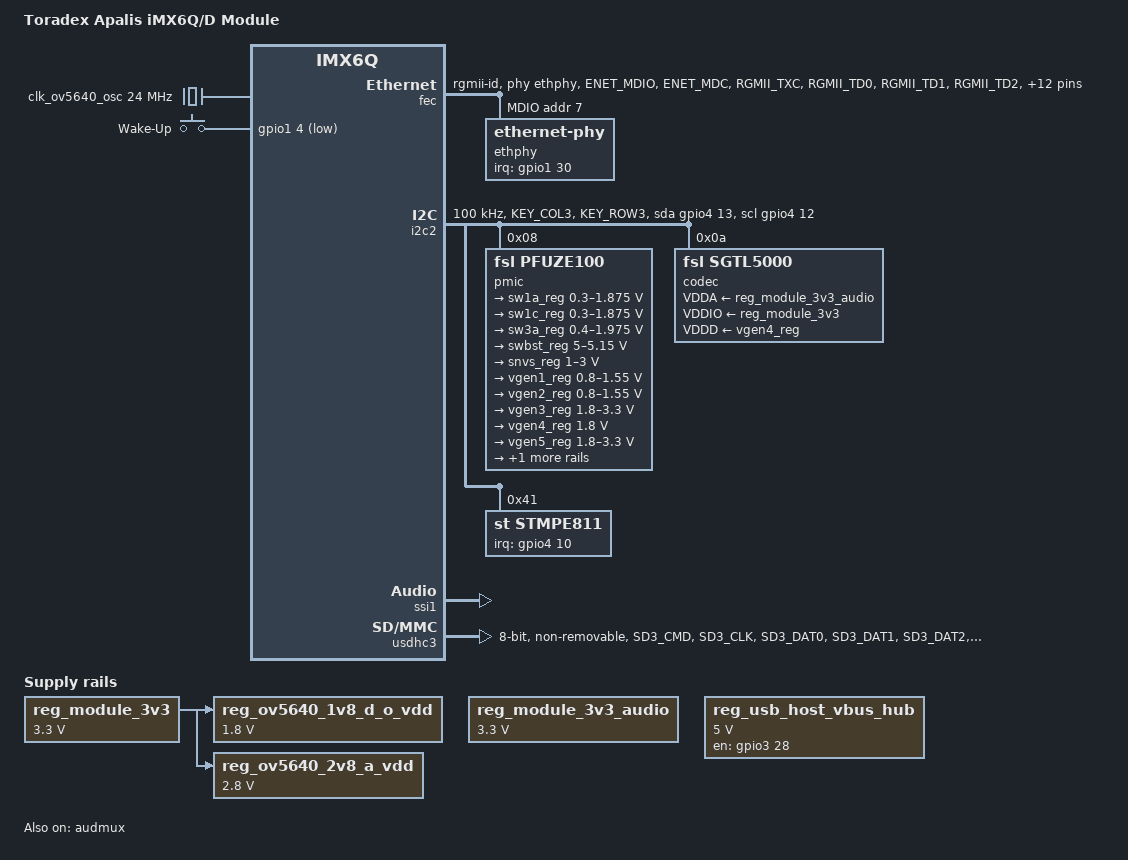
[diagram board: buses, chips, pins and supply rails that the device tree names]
// SPDX-License-Identifier: GPL-2.0-or-later OR MIT
/*
 * Copyright 2014-2022 Toradex
 * Copyright 2012 Freescale Semiconductor, Inc.
 * Copyright 2011 Linaro Ltd.
 */

#include <dt-bindings/gpio/gpio.h>
#include <dt-bindings/pwm/pwm.h>

/ {
	model = "Toradex Apalis iMX6Q/D Module";
	compatible = "toradex,apalis_imx6q", "fsl,imx6q";

	/* Will be filled by the bootloader */
	memory@10000000 {
		device_type = "memory";
		reg = <0x10000000 0>;
	};

	backlight: backlight {
		compatible = "pwm-backlight";
		brightness-levels = <0 45 63 88 119 158 203 255>;
		default-brightness-level = <4>;
		enable-gpios = <&gpio3 13 GPIO_ACTIVE_HIGH>;
		pinctrl-names = "default";
		pinctrl-0 = <&pinctrl_gpio_bl_on>;
		power-supply = <&reg_module_3v3>;
		pwms = <&pwm4 0 5000000 PWM_POLARITY_INVERTED>;
		status = "disabled";
	};

	clk_ov5640_osc: clk-ov5640-osc {
		compatible = "fixed-clock";
		#clock-cells = <0>;
		clock-frequency = <24000000>;
	};

	gpio-keys {
		compatible = "gpio-keys";
		pinctrl-names = "default";
		pinctrl-0 = <&pinctrl_gpio_keys>;

		key-wakeup {
			debounce-interval = <10>;
			gpios = <&gpio1 4 GPIO_ACTIVE_LOW>;
			label = "Wake-Up";
			linux,code = <KEY_WAKEUP>;
			wakeup-source;
		};
	};

	lcd_display: disp0 {
		compatible = "fsl,imx-parallel-display";
		#address-cells = <1>;
		#size-cells = <0>;
		interface-pix-fmt = "rgb24";
		pinctrl-names = "default";
		pinctrl-0 = <&pinctrl_ipu1_lcdif>;
		status = "disabled";

		port@0 {
			reg = <0>;

			lcd_display_in: endpoint {
				remote-endpoint = <&ipu1_di1_disp1>;
			};
		};

		port@1 {
			reg = <1>;

			lcd_display_out: endpoint {
				remote-endpoint = <&lcd_panel_in>;
			};
		};
	};

	panel_dpi: panel-dpi {
		compatible = "edt,et057090dhu";
		backlight = <&backlight>;

		status = "disabled";

		port {
			lcd_panel_in: endpoint {
				remote-endpoint = <&lcd_display_out>;
			};
		};
	};

	panel_lvds: panel-lvds {
		compatible = "panel-lvds";
		backlight = <&backlight>;
		status = "disabled";

		port {
			lvds_panel_in: endpoint {
				remote-endpoint = <&lvds0_out>;
			};
		};
	};

	reg_module_3v3: regulator-module-3v3 {
		compatible = "regulator-fixed";
		regulator-always-on;
		regulator-max-microvolt = <3300000>;
		regulator-min-microvolt = <3300000>;
		regulator-name = "+V3.3";
	};

	reg_module_3v3_audio: regulator-module-3v3-audio {
		compatible = "regulator-fixed";
		regulator-always-on;
		regulator-max-microvolt = <3300000>;
		regulator-min-microvolt = <3300000>;
		regulator-name = "+V3.3_AUDIO";
	};

	reg_ov5640_1v8_d_o_vdd: regulator-ov5640-1v8-d-o-vdd {
		compatible = "regulator-fixed";
		regulator-always-on;
		regulator-max-microvolt = <1800000>;
		regulator-min-microvolt = <1800000>;
		regulator-name = "DOVDD/DVDD_1.8V";
		/* Note: The CSI module uses on-board 3.3V_SW supply */
		vin-supply = <&reg_module_3v3>;
	};

	reg_ov5640_2v8_a_vdd: regulator-ov5640-2v8-a-vdd {
		compatible = "regulator-fixed";
		regulator-always-on;
		regulator-max-microvolt = <2800000>;
		regulator-min-microvolt = <2800000>;
		regulator-name = "AVDD/AFVDD_2.8V";
		/* Note: The CSI module uses on-board 3.3V_SW supply */
		vin-supply = <&reg_module_3v3>;
	};

	reg_usb_otg_vbus: regulator-usb-otg-vbus {
		compatible = "regulator-fixed";
		enable-active-high;
		gpio = <&gpio3 22 GPIO_ACTIVE_HIGH>;
		pinctrl-names = "default";
		pinctrl-0 = <&pinctrl_regulator_usbotg_pwr>;
		regulator-max-microvolt = <5000000>;
		regulator-min-microvolt = <5000000>;
		regulator-name = "usb_otg_vbus";
		status = "disabled";
	};

	/* on module USB hub */
	reg_usb_host_vbus_hub: regulator-usb-host-vbus-hub {
		compatible = "regulator-fixed";
		enable-active-high;
		gpio = <&gpio3 28 GPIO_ACTIVE_HIGH>;
		pinctrl-names = "default";
		pinctrl-0 = <&pinctrl_regulator_usbhub_pwr>;
		regulator-max-microvolt = <5000000>;
		regulator-min-microvolt = <5000000>;
		regulator-name = "usb_host_vbus_hub";
		startup-delay-us = <2000>;
		status = "okay";
	};

	reg_usb_host_vbus: regulator-usb-host-vbus {
		compatible = "regulator-fixed";
		enable-active-high;
		gpio =  <&gpio1 0 GPIO_ACTIVE_HIGH>;
		pinctrl-names = "default";
		pinctrl-0 = <&pinctrl_regulator_usbh_pwr>;
		regulator-max-microvolt = <5000000>;
		regulator-min-microvolt = <5000000>;
		regulator-name = "usb_host_vbus";
		vin-supply = <&reg_usb_host_vbus_hub>;
		status = "disabled";
	};

	sound {
		compatible = "fsl,imx-audio-sgtl5000";
		audio-codec = <&codec>;
		audio-routing =
			"LINE_IN", "Line In Jack",
			"MIC_IN", "Mic Jack",
			"Mic Jack", "Mic Bias",
			"Headphone Jack", "HP_OUT";
		model = "imx6q-apalis-sgtl5000";
		mux-ext-port = <4>;
		mux-int-port = <1>;
		ssi-controller = <&ssi1>;
	};

	sound_spdif: sound-spdif {
		compatible = "fsl,imx-audio-spdif";
		spdif-controller = <&spdif>;
		spdif-in;
		spdif-out;
		model = "imx-spdif";
		status = "disabled";
	};
};

&audmux {
	pinctrl-names = "default";
	pinctrl-0 = <&pinctrl_audmux>;
	status = "okay";
};

&can1 {
	pinctrl-names = "default", "sleep";
	pinctrl-0 = <&pinctrl_flexcan1_default>;
	pinctrl-1 = <&pinctrl_flexcan1_sleep>;
	status = "disabled";
};

&can2 {
	pinctrl-names = "default", "sleep";
	pinctrl-0 = <&pinctrl_flexcan2_default>;
	pinctrl-1 = <&pinctrl_flexcan2_sleep>;
	status = "disabled";
};

&clks {
	fsl,pmic-stby-poweroff;
};

/* Apalis SPI1 */
&ecspi1 {
	cs-gpios = <&gpio5 25 GPIO_ACTIVE_LOW>;
	pinctrl-names = "default";
	pinctrl-0 = <&pinctrl_ecspi1>;
	status = "disabled";
};

/* Apalis SPI2 */
&ecspi2 {
	cs-gpios = <&gpio2 26 GPIO_ACTIVE_LOW>;
	pinctrl-names = "default";
	pinctrl-0 = <&pinctrl_ecspi2>;
	status = "disabled";
};

&gpio1 {
	gpio-line-names = "MXM3_84",
			  "MXM3_4",
			  "MXM3_15/GPIO7",
			  "MXM3_96",
			  "MXM3_37",
			  "",
			  "MXM3_17/GPIO8",
			  "MXM3_14",
			  "MXM3_12",
			  "MXM3_2",
			  "MXM3_184",
			  "MXM3_180",
			  "MXM3_178",
			  "MXM3_176",
			  "MXM3_188",
			  "MXM3_186",
			  "MXM3_160",
			  "MXM3_162",
			  "MXM3_150",
			  "MXM3_144",
			  "MXM3_154",
			  "MXM3_146",
			  "",
			  "",
			  "MXM3_72";
};

&gpio2 {
	gpio-line-names = "MXM3_148",
			  "MXM3_152",
			  "MXM3_156",
			  "MXM3_158",
			  "MXM3_1/GPIO1",
			  "MXM3_3/GPIO2",
			  "MXM3_5/GPIO3",
			  "MXM3_7/GPIO4",
			  "MXM3_95",
			  "MXM3_6",
			  "MXM3_8",
			  "MXM3_123",
			  "MXM3_126",
			  "MXM3_128",
			  "MXM3_130",
			  "MXM3_132",
			  "MXM3_253",
			  "MXM3_251",
			  "MXM3_283",
			  "MXM3_281",
			  "MXM3_279",
			  "MXM3_277",
			  "MXM3_243",
			  "MXM3_235",
			  "MXM3_231",
			  "MXM3_229",
			  "MXM3_233",
			  "MXM3_198",
			  "MXM3_275",
			  "MXM3_273",
			  "MXM3_207",
			  "MXM3_122";
};

&gpio3 {
	gpio-line-names = "MXM3_271",
			  "MXM3_269",
			  "MXM3_301",
			  "MXM3_299",
			  "MXM3_297",
			  "MXM3_295",
			  "MXM3_293",
			  "MXM3_291",
			  "MXM3_289",
			  "MXM3_287",
			  "MXM3_249",
			  "MXM3_247",
			  "MXM3_245",
			  "MXM3_286",
			  "MXM3_239",
			  "MXM3_35",
			  "MXM3_205",
			  "MXM3_203",
			  "MXM3_201",
			  "MXM3_116",
			  "MXM3_114",
			  "MXM3_262",
			  "MXM3_274",
			  "MXM3_124",
			  "MXM3_110",
			  "MXM3_120",
			  "MXM3_263",
			  "MXM3_265",
			  "",
			  "MXM3_135",
			  "MXM3_261",
			  "MXM3_259";
};

&gpio4 {
	gpio-line-names = "",
			  "",
			  "",
			  "",
			  "",
			  "MXM3_194",
			  "MXM3_136",
			  "MXM3_134",
			  "MXM3_140",
			  "MXM3_138",
			  "",
			  "MXM3_220",
			  "",
			  "",
			  "MXM3_18",
			  "MXM3_16",
			  "",
			  "",
			  "MXM3_214",
			  "MXM3_216",
			  "MXM3_164";
};

&gpio5 {
	gpio-line-names = "MXM3_159",
			  "",
			  "",
			  "",
			  "MXM3_257",
			  "",
			  "",
			  "",
			  "",
			  "",
			  "MXM3_200",
			  "MXM3_196",
			  "MXM3_204",
			  "MXM3_202",
			  "",
			  "",
			  "",
			  "",
			  "MXM3_191",
			  "MXM3_197",
			  "MXM3_77",
			  "MXM3_195",
			  "MXM3_221",
			  "MXM3_225",
			  "MXM3_223",
			  "MXM3_227",
			  "MXM3_209",
			  "MXM3_211",
			  "MXM3_118",
			  "MXM3_112",
			  "MXM3_187",
			  "MXM3_185";
};

&gpio6 {
	gpio-line-names = "MXM3_183",
			  "MXM3_181",
			  "MXM3_179",
			  "MXM3_177",
			  "MXM3_175",
			  "MXM3_173",
			  "MXM3_255",
			  "MXM3_83",
			  "MXM3_91",
			  "MXM3_13/GPIO6",
			  "MXM3_11/GPIO5",
			  "MXM3_79",
			  "",
			  "",
			  "MXM3_190",
			  "MXM3_193",
			  "MXM3_89";
};

&gpio7 {
	gpio-line-names = "",
			  "",
			  "",
			  "",
			  "",
			  "",
			  "",
			  "",
			  "",
			  "MXM3_99",
			  "MXM3_85",
			  "MXM3_217",
			  "MXM3_215";
};

&gpr {
	ipu1_csi0_mux {
		#address-cells = <1>;
		#size-cells = <0>;
		status = "disabled";

		port@1 {
			reg = <1>;
			ipu1_csi0_mux_from_parallel_sensor: endpoint {
				remote-endpoint = <&adv7280_to_ipu1_csi0_mux>;
			};
		};
	};
};

&fec {
	pinctrl-names = "default";
	pinctrl-0 = <&pinctrl_enet>;
	phy-mode = "rgmii-id";
	phy-handle = <&ethphy>;
	phy-reset-duration = <10>;
	phy-reset-gpios = <&gpio1 25 GPIO_ACTIVE_LOW>;
	status = "okay";

	mdio {
		#address-cells = <1>;
		#size-cells = <0>;

		ethphy: ethernet-phy@7 {
			interrupt-parent = <&gpio1>;
			interrupts = <30 IRQ_TYPE_LEVEL_LOW>;
			reg = <7>;
		};
	};
};

&hdmi {
	pinctrl-names = "default";
	pinctrl-0 = <&pinctrl_hdmi_ddc &pinctrl_hdmi_cec>;
	status = "disabled";
};

/* I2C1_SDA/SCL on MXM3 209/211 (e.g. RTC on carrier board) */
&i2c1 {
	clock-frequency = <100000>;
	pinctrl-names = "default", "gpio";
	pinctrl-0 = <&pinctrl_i2c1>;
	pinctrl-1 = <&pinctrl_i2c1_gpio>;
	scl-gpios = <&gpio5 27 (GPIO_ACTIVE_HIGH | GPIO_OPEN_DRAIN)>;
	sda-gpios = <&gpio5 26 (GPIO_ACTIVE_HIGH | GPIO_OPEN_DRAIN)>;
	status = "disabled";

	atmel_mxt_ts: touchscreen@4a {
		compatible = "atmel,maxtouch";
		/* These GPIOs are muxed with the iomuxc node */
		interrupt-parent = <&gpio6>;
		interrupts = <10 IRQ_TYPE_EDGE_FALLING>;	/* MXM3_11 */
		reg = <0x4a>;
		reset-gpios = <&gpio6 9 GPIO_ACTIVE_LOW>;	/* MXM3_13 */
		status = "disabled";
	};
};

/*
 * PWR_I2C: power I2C to audio codec, PMIC, temperature sensor and
 * touch screen controller
 */
&i2c2 {
	clock-frequency = <100000>;
	pinctrl-names = "default", "gpio";
	pinctrl-0 = <&pinctrl_i2c2>;
	pinctrl-1 = <&pinctrl_i2c2_gpio>;
	scl-gpios = <&gpio4 12 (GPIO_ACTIVE_HIGH | GPIO_OPEN_DRAIN)>;
	sda-gpios = <&gpio4 13 (GPIO_ACTIVE_HIGH | GPIO_OPEN_DRAIN)>;
	status = "okay";

	pmic: pmic@8 {
		compatible = "fsl,pfuze100";
		fsl,pmic-stby-poweroff;
		reg = <0x08>;

		regulators {
			sw1a_reg: sw1ab {
				regulator-always-on;
				regulator-boot-on;
				regulator-max-microvolt = <1875000>;
				regulator-min-microvolt = <300000>;
				regulator-ramp-delay = <6250>;
			};

			sw1c_reg: sw1c {
				regulator-always-on;
				regulator-boot-on;
				regulator-max-microvolt = <1875000>;
				regulator-min-microvolt = <300000>;
				regulator-ramp-delay = <6250>;
			};

			sw3a_reg: sw3a {
				regulator-always-on;
				regulator-boot-on;
				regulator-max-microvolt = <1975000>;
				regulator-min-microvolt = <400000>;
			};

			swbst_reg: swbst {
				regulator-always-on;
				regulator-boot-on;
				regulator-max-microvolt = <5150000>;
				regulator-min-microvolt = <5000000>;
			};

			snvs_reg: vsnvs {
				regulator-always-on;
				regulator-boot-on;
				regulator-max-microvolt = <3000000>;
				regulator-min-microvolt = <1000000>;
			};

			vref_reg: vrefddr {
				regulator-always-on;
				regulator-boot-on;
			};

			vgen1_reg: vgen1 {
				regulator-always-on;
				regulator-boot-on;
				regulator-max-microvolt = <1550000>;
				regulator-min-microvolt = <800000>;
			};

			vgen2_reg: vgen2 {
				regulator-always-on;
				regulator-boot-on;
				regulator-max-microvolt = <1550000>;
				regulator-min-microvolt = <800000>;
			};

			vgen3_reg: vgen3 {
				regulator-always-on;
				regulator-boot-on;
				regulator-max-microvolt = <3300000>;
				regulator-min-microvolt = <1800000>;
			};

			vgen4_reg: vgen4 {
				regulator-always-on;
				regulator-boot-on;
				regulator-max-microvolt = <1800000>;
				regulator-min-microvolt = <1800000>;
			};

			vgen5_reg: vgen5 {
				regulator-always-on;
				regulator-boot-on;
				regulator-max-microvolt = <3300000>;
				regulator-min-microvolt = <1800000>;
			};

			vgen6_reg: vgen6 {
				regulator-always-on;
				regulator-boot-on;
				regulator-max-microvolt = <3300000>;
				regulator-min-microvolt = <1800000>;
			};
		};
	};

	codec: sgtl5000@a {
		compatible = "fsl,sgtl5000";
		#sound-dai-cells = <0>;
		clocks = <&clks IMX6QDL_CLK_CKO>;
		pinctrl-names = "default";
		pinctrl-0 = <&pinctrl_sgtl5000>;
		reg = <0x0a>;
		VDDA-supply = <&reg_module_3v3_audio>;
		VDDIO-supply = <&reg_module_3v3>;
		VDDD-supply = <&vgen4_reg>;
	};

	/* STMPE811 touch screen controller */
	stmpe811@41 {
		compatible = "st,stmpe811";
		blocks = <0x5>;
		id = <0>;
		interrupts = <10 IRQ_TYPE_LEVEL_LOW>;
		interrupt-controller;
		interrupt-parent = <&gpio4>;
		irq-trigger = <0x1>;
		pinctrl-names = "default";
		pinctrl-0 = <&pinctrl_touch_int>;
		reg = <0x41>;
		/* 3.25 MHz ADC clock speed */
		st,adc-freq = <1>;
		/* 12-bit ADC */
		st,mod-12b = <1>;
		/* internal ADC reference */
		st,ref-sel = <0>;
		/* ADC conversion time: 80 clocks */
		st,sample-time = <4>;

		stmpe_ts: stmpe_touchscreen {
			compatible = "st,stmpe-ts";
			/* 8 sample average control */
			st,ave-ctrl = <3>;
			/* 7 length fractional part in z */
			st,fraction-z = <7>;
			/*
			 * 50 mA typical 80 mA max touchscreen drivers
			 * current limit value
			 */
			st,i-drive = <1>;
			/* 1 ms panel driver settling time */
			st,settling = <3>;
			/* 5 ms touch detect interrupt delay */
			st,touch-det-delay = <5>;
			status = "disabled";
		};

		stmpe_adc: stmpe_adc {
			compatible = "st,stmpe-adc";
			#io-channel-cells = <1>;
			/* forbid to use ADC channels 3-0 (touch) */
			st,norequest-mask = <0x0F>;
		};
	};
};

/*
 * I2C3_SDA/SCL (CAM) on MXM3 pin 201/203 (e.g. camera sensor on carrier
 * board)
 */
&i2c3 {
	clock-frequency = <100000>;
	pinctrl-names = "default", "gpio";
	pinctrl-0 = <&pinctrl_i2c3>;
	pinctrl-1 = <&pinctrl_i2c3_gpio>;
	scl-gpios = <&gpio3 17 (GPIO_ACTIVE_HIGH | GPIO_OPEN_DRAIN)>;
	sda-gpios = <&gpio3 18 (GPIO_ACTIVE_HIGH | GPIO_OPEN_DRAIN)>;
	status = "disabled";

	adv_7280: adv7280@21 {
		compatible = "adi,adv7280";
		adv,force-bt656-4;
		pinctrl-names = "default";
		pinctrl-0 = <&pinctrl_ipu1_csi0>;
		reg = <0x21>;
		status = "disabled";

		port {
			adv7280_to_ipu1_csi0_mux: endpoint {
				bus-width = <8>;
				remote-endpoint = <&ipu1_csi0_mux_from_parallel_sensor>;
			};
		};
	};

	ov5640_csi_cam: ov5640_mipi@3c {
		compatible = "ovti,ov5640";
		AVDD-supply = <&reg_ov5640_2v8_a_vdd>;
		DOVDD-supply = <&reg_ov5640_1v8_d_o_vdd>;
		DVDD-supply = <&reg_ov5640_1v8_d_o_vdd>;
		clock-names = "xclk";
		clocks = <&clks IMX6QDL_CLK_CKO2>;
		pinctrl-names = "default";
		pinctrl-0 = <&pinctrl_cam_mclk>;
		/* These GPIOs are muxed with the iomuxc node */
		powerdown-gpios = <&gpio2 5 GPIO_ACTIVE_HIGH>;
		reg = <0x3c>;
		reset-gpios = <&gpio2 4 GPIO_ACTIVE_LOW>;
		status = "disabled";

		port {
			ov5640_to_mipi_csi2: endpoint {
				clock-lanes = <0>;
				data-lanes = <1 2>;
				remote-endpoint = <&mipi_csi_from_ov5640>;
			};
		};
	};
};

&ipu1_di1_disp1 {
	remote-endpoint = <&lcd_display_in>;
};

&ldb {
	lvds-channel@0 {
		port@4 {
			reg = <4>;

			lvds0_out: endpoint {
				remote-endpoint = <&lvds_panel_in>;
			};
		};
	};

	lvds-channel@1 {
		fsl,data-mapping = "spwg";
		fsl,data-width = <18>;

		port@4 {
			reg = <4>;

			lvds1_out: endpoint {
			};
		};
	};
};

&mipi_csi {
	#address-cells = <1>;
	#size-cells = <0>;
	status = "disabled";

	port@0 {
		reg = <0>;

		mipi_csi_from_ov5640: endpoint {
			clock-lanes = <0>;
			data-lanes = <1 2>;
			remote-endpoint = <&ov5640_to_mipi_csi2>;
		};
	};
};

&pwm1 {
	pinctrl-names = "default";
	pinctrl-0 = <&pinctrl_pwm1>;
	status = "disabled";
};

&pwm2 {
	pinctrl-names = "default";
	pinctrl-0 = <&pinctrl_pwm2>;
	status = "disabled";
};

&pwm3 {
	pinctrl-names = "default";
	pinctrl-0 = <&pinctrl_pwm3>;
	status = "disabled";
};

&pwm4 {
	pinctrl-names = "default";
	pinctrl-0 = <&pinctrl_pwm4>;
	status = "disabled";
};

&spdif {
	pinctrl-names = "default";
	pinctrl-0 = <&pinctrl_spdif>;
	status = "disabled";
};

&ssi1 {
	status = "okay";
};

&uart1 {
	fsl,dte-mode;
	pinctrl-names = "default";
	pinctrl-0 = <&pinctrl_uart1_dte &pinctrl_uart1_ctrl>;
	uart-has-rtscts;
	status = "disabled";
};

&uart2 {
	fsl,dte-mode;
	pinctrl-names = "default";
	pinctrl-0 = <&pinctrl_uart2_dte>;
	uart-has-rtscts;
	status = "disabled";
};

&uart4 {
	fsl,dte-mode;
	pinctrl-names = "default";
	pinctrl-0 = <&pinctrl_uart4_dte>;
	status = "disabled";
};

&uart5 {
	fsl,dte-mode;
	pinctrl-names = "default";
	pinctrl-0 = <&pinctrl_uart5_dte>;
	status = "disabled";
};

&usbotg {
	pinctrl-names = "default";
	pinctrl-0 = <&pinctrl_usbotg>;
	status = "disabled";
};

/* MMC1 */
&usdhc1 {
	bus-width = <8>;
	cd-gpios = <&gpio4 20 GPIO_ACTIVE_LOW>;
	disable-wp;
	no-1-8-v;
	pinctrl-names = "default";
	pinctrl-0 = <&pinctrl_usdhc1_4bit &pinctrl_usdhc1_8bit &pinctrl_mmc_cd>;
	vqmmc-supply = <&reg_module_3v3>;
	status = "disabled";
};

/* SD1 */
&usdhc2 {
	bus-width = <4>;
	disable-wp;
	no-1-8-v;
	pinctrl-names = "default";
	pinctrl-0 = <&pinctrl_usdhc2>;
	vqmmc-supply = <&reg_module_3v3>;
	status = "disabled";
};

/* eMMC */
&usdhc3 {
	bus-width = <8>;
	no-1-8-v;
	non-removable;
	pinctrl-names = "default";
	pinctrl-0 = <&pinctrl_usdhc3>;
	vqmmc-supply = <&reg_module_3v3>;
	status = "okay";
};

&weim {
	status = "disabled";
};

&iomuxc {
	/* Mux the Apalis GPIOs */
	pinctrl-names = "default";
	pinctrl-0 = <&pinctrl_apalis_gpio1 &pinctrl_apalis_gpio2
		     &pinctrl_apalis_gpio3 &pinctrl_apalis_gpio4
		     &pinctrl_apalis_gpio5 &pinctrl_apalis_gpio6
		     &pinctrl_apalis_gpio7 &pinctrl_apalis_gpio8
		    >;

	pinctrl_apalis_gpio1: apalisgpio1grp {
		fsl,pins = <
			MX6QDL_PAD_NANDF_D4__GPIO2_IO04 0x130b0
		>;
	};

	pinctrl_apalis_gpio2: apalisgpio2grp {
		fsl,pins = <
			MX6QDL_PAD_NANDF_D5__GPIO2_IO05 0x130b0
		>;
	};

	pinctrl_apalis_gpio3: apalisgpio3grp {
		fsl,pins = <
			MX6QDL_PAD_NANDF_D6__GPIO2_IO06 0x130b0
		>;
	};

	pinctrl_apalis_gpio4: apalisgpio4grp {
		fsl,pins = <
			MX6QDL_PAD_NANDF_D7__GPIO2_IO07 0x130b0
		>;
	};

	pinctrl_apalis_gpio5: apalisgpio5grp {
		fsl,pins = <
			MX6QDL_PAD_NANDF_RB0__GPIO6_IO10 0x130b0
		>;
	};

	pinctrl_apalis_gpio6: apalisgpio6grp {
		fsl,pins = <
			MX6QDL_PAD_NANDF_WP_B__GPIO6_IO09 0x130b0
		>;
	};

	pinctrl_apalis_gpio7: apalisgpio7grp {
		fsl,pins = <
			MX6QDL_PAD_GPIO_2__GPIO1_IO02 0x130b0
		>;
	};

	pinctrl_apalis_gpio8: apalisgpio8grp {
		fsl,pins = <
			MX6QDL_PAD_GPIO_6__GPIO1_IO06 0x130b0
		>;
	};

	pinctrl_audmux: audmuxgrp {
		fsl,pins = <
			MX6QDL_PAD_DISP0_DAT20__AUD4_TXC	0x130b0
			MX6QDL_PAD_DISP0_DAT21__AUD4_TXD	0x130b0
			MX6QDL_PAD_DISP0_DAT22__AUD4_TXFS	0x130b0
			MX6QDL_PAD_DISP0_DAT23__AUD4_RXD	0x130b0
		>;
	};

	pinctrl_cam_mclk: cammclkgrp {
		fsl,pins = <
			/* CAM sys_mclk */
			MX6QDL_PAD_NANDF_CS2__CCM_CLKO2 0x00b0
		>;
	};

	pinctrl_ecspi1: ecspi1grp {
		fsl,pins = <
			MX6QDL_PAD_CSI0_DAT6__ECSPI1_MISO 0x100b1
			MX6QDL_PAD_CSI0_DAT5__ECSPI1_MOSI 0x100b1
			MX6QDL_PAD_CSI0_DAT4__ECSPI1_SCLK 0x100b1
			/* SPI1 cs */
			MX6QDL_PAD_CSI0_DAT7__GPIO5_IO25 0x000b1
		>;
	};

	pinctrl_ecspi2: ecspi2grp {
		fsl,pins = <
			MX6QDL_PAD_EIM_OE__ECSPI2_MISO 0x100b1
			MX6QDL_PAD_EIM_CS1__ECSPI2_MOSI 0x100b1
			MX6QDL_PAD_EIM_CS0__ECSPI2_SCLK 0x100b1
			/* SPI2 cs */
			MX6QDL_PAD_EIM_RW__GPIO2_IO26 0x000b1
		>;
	};

	pinctrl_enet: enetgrp {
		fsl,pins = <
			MX6QDL_PAD_ENET_MDIO__ENET_MDIO		0x100b0
			MX6QDL_PAD_ENET_MDC__ENET_MDC		0x100b0
			MX6QDL_PAD_RGMII_TXC__RGMII_TXC		0x10030
			MX6QDL_PAD_RGMII_TD0__RGMII_TD0		0x10030
			MX6QDL_PAD_RGMII_TD1__RGMII_TD1		0x10030
			MX6QDL_PAD_RGMII_TD2__RGMII_TD2		0x10030
			MX6QDL_PAD_RGMII_TD3__RGMII_TD3		0x10030
			MX6QDL_PAD_RGMII_TX_CTL__RGMII_TX_CTL	0x10030
			MX6QDL_PAD_ENET_REF_CLK__ENET_TX_CLK	0x100b0
			MX6QDL_PAD_RGMII_RXC__RGMII_RXC		0x1b030
			MX6QDL_PAD_RGMII_RD0__RGMII_RD0		0x1b030
			MX6QDL_PAD_RGMII_RD1__RGMII_RD1		0x1b030
			MX6QDL_PAD_RGMII_RD2__RGMII_RD2		0x1b030
			MX6QDL_PAD_RGMII_RD3__RGMII_RD3		0x1b030
			MX6QDL_PAD_RGMII_RX_CTL__RGMII_RX_CTL	0x1b030
			/* Ethernet PHY reset */
			MX6QDL_PAD_ENET_CRS_DV__GPIO1_IO25	0x000b0
			/* Ethernet PHY interrupt */
			MX6QDL_PAD_ENET_TXD0__GPIO1_IO30	0x000b1
		>;
	};

	pinctrl_flexcan1_default: flexcan1defgrp {
		fsl,pins = <
			MX6QDL_PAD_GPIO_7__FLEXCAN1_TX 0x1b0b0
			MX6QDL_PAD_GPIO_8__FLEXCAN1_RX 0x1b0b0
		>;
	};

	pinctrl_flexcan1_sleep: flexcan1slpgrp {
		fsl,pins = <
			MX6QDL_PAD_GPIO_7__GPIO1_IO07 0x0
			MX6QDL_PAD_GPIO_8__GPIO1_IO08 0x0
		>;
	};

	pinctrl_flexcan2_default: flexcan2defgrp {
		fsl,pins = <
			MX6QDL_PAD_KEY_COL4__FLEXCAN2_TX 0x1b0b0
			MX6QDL_PAD_KEY_ROW4__FLEXCAN2_RX 0x1b0b0
		>;
	};
	pinctrl_flexcan2_sleep: flexcan2slpgrp {
		fsl,pins = <
			MX6QDL_PAD_KEY_COL4__GPIO4_IO14 0x0
			MX6QDL_PAD_KEY_ROW4__GPIO4_IO15 0x0
		>;
	};

	pinctrl_gpio_bl_on: gpioblongrp {
		fsl,pins = <
			MX6QDL_PAD_EIM_DA13__GPIO3_IO13 0x1b0b0
		>;
	};

	pinctrl_gpio_keys: gpio1io04grp {
		fsl,pins = <
			/* Power button */
			MX6QDL_PAD_GPIO_4__GPIO1_IO04 0x1b0b0
		>;
	};

	pinctrl_hdmi_cec: hdmicecgrp {
		fsl,pins = <
			MX6QDL_PAD_KEY_ROW2__HDMI_TX_CEC_LINE 0x1f8b0
		>;
	};

	pinctrl_hdmi_ddc: hdmiddcgrp {
		fsl,pins = <
			MX6QDL_PAD_EIM_EB2__HDMI_TX_DDC_SCL 0x4001b8b1
			MX6QDL_PAD_EIM_D16__HDMI_TX_DDC_SDA 0x4001b8b1
		>;
	};

	pinctrl_i2c1: i2c1grp {
		fsl,pins = <
			MX6QDL_PAD_CSI0_DAT8__I2C1_SDA 0x4001b8b1
			MX6QDL_PAD_CSI0_DAT9__I2C1_SCL 0x4001b8b1
		>;
	};

	pinctrl_i2c1_gpio: i2c1gpiogrp {
		fsl,pins = <
			MX6QDL_PAD_CSI0_DAT8__GPIO5_IO26 0x4001b8b1
			MX6QDL_PAD_CSI0_DAT9__GPIO5_IO27 0x4001b8b1
		>;
	};

	pinctrl_i2c2: i2c2grp {
		fsl,pins = <
			MX6QDL_PAD_KEY_COL3__I2C2_SCL 0x4001b8b1
			MX6QDL_PAD_KEY_ROW3__I2C2_SDA 0x4001b8b1
		>;
	};

	pinctrl_i2c2_gpio: i2c2gpiogrp {
		fsl,pins = <
			MX6QDL_PAD_KEY_COL3__GPIO4_IO12 0x4001b8b1
			MX6QDL_PAD_KEY_ROW3__GPIO4_IO13 0x4001b8b1
		>;
	};

	pinctrl_i2c3: i2c3grp {
		fsl,pins = <
			MX6QDL_PAD_EIM_D17__I2C3_SCL 0x4001b8b1
			MX6QDL_PAD_EIM_D18__I2C3_SDA 0x4001b8b1
		>;
	};

	pinctrl_i2c3_gpio: i2c3gpiogrp {
		fsl,pins = <
			MX6QDL_PAD_EIM_D17__GPIO3_IO17 0x4001b8b1
			MX6QDL_PAD_EIM_D18__GPIO3_IO18 0x4001b8b1
		>;
	};

	pinctrl_ipu1_csi0: ipu1csi0grp { /* parallel camera */
		fsl,pins = <
			MX6QDL_PAD_CSI0_DAT12__IPU1_CSI0_DATA12  0xb0b1
			MX6QDL_PAD_CSI0_DAT13__IPU1_CSI0_DATA13  0xb0b1
			MX6QDL_PAD_CSI0_DAT14__IPU1_CSI0_DATA14  0xb0b1
			MX6QDL_PAD_CSI0_DAT15__IPU1_CSI0_DATA15  0xb0b1
			MX6QDL_PAD_CSI0_DAT16__IPU1_CSI0_DATA16  0xb0b1
			MX6QDL_PAD_CSI0_DAT17__IPU1_CSI0_DATA17  0xb0b1
			MX6QDL_PAD_CSI0_DAT18__IPU1_CSI0_DATA18  0xb0b1
			MX6QDL_PAD_CSI0_DAT19__IPU1_CSI0_DATA19  0xb0b1
			MX6QDL_PAD_CSI0_PIXCLK__IPU1_CSI0_PIXCLK 0xb0b1
			MX6QDL_PAD_CSI0_MCLK__IPU1_CSI0_HSYNC    0xb0b1
			MX6QDL_PAD_CSI0_VSYNC__IPU1_CSI0_VSYNC   0xb0b1
		>;
	};

	pinctrl_ipu1_lcdif: ipu1lcdifgrp {
		fsl,pins = <
			MX6QDL_PAD_EIM_A16__IPU1_DI1_DISP_CLK	0x61
			/* DE */
			MX6QDL_PAD_EIM_DA10__IPU1_DI1_PIN15	0x61
			/* HSync */
			MX6QDL_PAD_EIM_DA11__IPU1_DI1_PIN02	0x61
			/* VSync */
			MX6QDL_PAD_EIM_DA12__IPU1_DI1_PIN03	0x61
			MX6QDL_PAD_EIM_DA9__IPU1_DISP1_DATA00	0x61
			MX6QDL_PAD_EIM_DA8__IPU1_DISP1_DATA01	0x61
			MX6QDL_PAD_EIM_DA7__IPU1_DISP1_DATA02	0x61
			MX6QDL_PAD_EIM_DA6__IPU1_DISP1_DATA03	0x61
			MX6QDL_PAD_EIM_DA5__IPU1_DISP1_DATA04	0x61
			MX6QDL_PAD_EIM_DA4__IPU1_DISP1_DATA05	0x61
			MX6QDL_PAD_EIM_DA3__IPU1_DISP1_DATA06	0x61
			MX6QDL_PAD_EIM_DA2__IPU1_DISP1_DATA07	0x61
			MX6QDL_PAD_EIM_DA1__IPU1_DISP1_DATA08	0x61
			MX6QDL_PAD_EIM_DA0__IPU1_DISP1_DATA09	0x61
			MX6QDL_PAD_EIM_EB1__IPU1_DISP1_DATA10	0x61
			MX6QDL_PAD_EIM_EB0__IPU1_DISP1_DATA11	0x61
			MX6QDL_PAD_EIM_A17__IPU1_DISP1_DATA12	0x61
			MX6QDL_PAD_EIM_A18__IPU1_DISP1_DATA13	0x61
			MX6QDL_PAD_EIM_A19__IPU1_DISP1_DATA14	0x61
			MX6QDL_PAD_EIM_A20__IPU1_DISP1_DATA15	0x61
			MX6QDL_PAD_EIM_A21__IPU1_DISP1_DATA16	0x61
			MX6QDL_PAD_EIM_A22__IPU1_DISP1_DATA17	0x61
			MX6QDL_PAD_EIM_A23__IPU1_DISP1_DATA18	0x61
			MX6QDL_PAD_EIM_A24__IPU1_DISP1_DATA19	0x61
			MX6QDL_PAD_EIM_D31__IPU1_DISP1_DATA20	0x61
			MX6QDL_PAD_EIM_D30__IPU1_DISP1_DATA21	0x61
			MX6QDL_PAD_EIM_D26__IPU1_DISP1_DATA22	0x61
			MX6QDL_PAD_EIM_D27__IPU1_DISP1_DATA23	0x61
		>;
	};

	pinctrl_ipu2_vdac: ipu2vdacgrp {
		fsl,pins = <
			MX6QDL_PAD_DI0_DISP_CLK__IPU2_DI0_DISP_CLK 0xd1
			MX6QDL_PAD_DI0_PIN15__IPU2_DI0_PIN15       0xd1
			MX6QDL_PAD_DI0_PIN2__IPU2_DI0_PIN02        0xd1
			MX6QDL_PAD_DI0_PIN3__IPU2_DI0_PIN03        0xd1
			MX6QDL_PAD_DISP0_DAT0__IPU2_DISP0_DATA00   0xf9
			MX6QDL_PAD_DISP0_DAT1__IPU2_DISP0_DATA01   0xf9
			MX6QDL_PAD_DISP0_DAT2__IPU2_DISP0_DATA02   0xf9
			MX6QDL_PAD_DISP0_DAT3__IPU2_DISP0_DATA03   0xf9
			MX6QDL_PAD_DISP0_DAT4__IPU2_DISP0_DATA04   0xf9
			MX6QDL_PAD_DISP0_DAT5__IPU2_DISP0_DATA05   0xf9
			MX6QDL_PAD_DISP0_DAT6__IPU2_DISP0_DATA06   0xf9
			MX6QDL_PAD_DISP0_DAT7__IPU2_DISP0_DATA07   0xf9
			MX6QDL_PAD_DISP0_DAT8__IPU2_DISP0_DATA08   0xf9
			MX6QDL_PAD_DISP0_DAT9__IPU2_DISP0_DATA09   0xf9
			MX6QDL_PAD_DISP0_DAT10__IPU2_DISP0_DATA10  0xf9
			MX6QDL_PAD_DISP0_DAT11__IPU2_DISP0_DATA11  0xf9
			MX6QDL_PAD_DISP0_DAT12__IPU2_DISP0_DATA12  0xf9
			MX6QDL_PAD_DISP0_DAT13__IPU2_DISP0_DATA13  0xf9
			MX6QDL_PAD_DISP0_DAT14__IPU2_DISP0_DATA14  0xf9
			MX6QDL_PAD_DISP0_DAT15__IPU2_DISP0_DATA15  0xf9
		>;
	};

	pinctrl_mmc_cd: mmccdgrp {
		fsl,pins = <
			 /* MMC1 CD */
			MX6QDL_PAD_DI0_PIN4__GPIO4_IO20 0x000b0
		>;
	};

	pinctrl_pwm1: pwm1grp {
		fsl,pins = <
			MX6QDL_PAD_GPIO_9__PWM1_OUT 0x1b0b1
		>;
	};

	pinctrl_pwm2: pwm2grp {
		fsl,pins = <
			MX6QDL_PAD_GPIO_1__PWM2_OUT 0x1b0b1
		>;
	};

	pinctrl_pwm3: pwm3grp {
		fsl,pins = <
			MX6QDL_PAD_SD4_DAT1__PWM3_OUT 0x1b0b1
		>;
	};

	pinctrl_pwm4: pwm4grp {
		fsl,pins = <
			MX6QDL_PAD_SD4_DAT2__PWM4_OUT 0x1b0b1
		>;
	};

	pinctrl_regulator_usbh_pwr: regusbhpwrgrp {
		fsl,pins = <
			/* USBH_EN */
			MX6QDL_PAD_GPIO_0__GPIO1_IO00 0x0f058
		>;
	};

	pinctrl_regulator_usbhub_pwr: regusbhubpwrgrp {
		fsl,pins = <
			/* USBH_HUB_EN */
			MX6QDL_PAD_EIM_D28__GPIO3_IO28 0x0f058
		>;
	};

	pinctrl_regulator_usbotg_pwr: regusbotgpwrgrp {
		fsl,pins = <
			/* USBO1 power en */
			MX6QDL_PAD_EIM_D22__GPIO3_IO22 0x0f058
		>;
	};

	pinctrl_reset_moci: resetmocigrp {
		fsl,pins = <
			/* RESET_MOCI control */
			MX6QDL_PAD_ENET_TX_EN__GPIO1_IO28 0x0f058
		>;
	};

	pinctrl_sd_cd: sdcdgrp {
		fsl,pins = <
			/* SD1 CD */
			MX6QDL_PAD_NANDF_CS1__GPIO6_IO14 0x000b0
		>;
	};

	pinctrl_sgtl5000: sgtl5000grp {
		fsl,pins = <
			MX6QDL_PAD_GPIO_5__CCM_CLKO1	0x130b0
		>;
	};

	pinctrl_spdif: spdifgrp {
		fsl,pins = <
			MX6QDL_PAD_GPIO_16__SPDIF_IN  0x1b0b0
			MX6QDL_PAD_GPIO_17__SPDIF_OUT 0x1b0b0
		>;
	};

	pinctrl_touch_int: touchintgrp {
		fsl,pins = <
			/* STMPE811 interrupt */
			MX6QDL_PAD_KEY_COL2__GPIO4_IO10 0x1b0b0
		>;
	};

	/* Additional DTR, DSR, DCD */
	pinctrl_uart1_ctrl: uart1ctrlgrp {
		fsl,pins = <
			MX6QDL_PAD_EIM_D23__UART1_DCD_B 0x1b0b0
			MX6QDL_PAD_EIM_D24__UART1_DTR_B 0x1b0b0
			MX6QDL_PAD_EIM_D25__UART1_DSR_B 0x1b0b0
		>;
	};

	pinctrl_uart1_dce: uart1dcegrp {
		fsl,pins = <
			MX6QDL_PAD_CSI0_DAT10__UART1_TX_DATA 0x1b0b1
			MX6QDL_PAD_CSI0_DAT11__UART1_RX_DATA 0x1b0b1
		>;
	};

	/* DTE mode */
	pinctrl_uart1_dte: uart1dtegrp {
		fsl,pins = <
			MX6QDL_PAD_CSI0_DAT10__UART1_RX_DATA 0x1b0b1
			MX6QDL_PAD_CSI0_DAT11__UART1_TX_DATA 0x1b0b1
			MX6QDL_PAD_EIM_D19__UART1_RTS_B 0x1b0b1
			MX6QDL_PAD_EIM_D20__UART1_CTS_B 0x1b0b1
		>;
	};

	pinctrl_uart2_dce: uart2dcegrp {
		fsl,pins = <
			MX6QDL_PAD_SD4_DAT4__UART2_RX_DATA	0x1b0b1
			MX6QDL_PAD_SD4_DAT7__UART2_TX_DATA	0x1b0b1
		>;
	};

	/* DTE mode */
	pinctrl_uart2_dte: uart2dtegrp {
		fsl,pins = <
			MX6QDL_PAD_SD4_DAT4__UART2_TX_DATA	0x1b0b1
			MX6QDL_PAD_SD4_DAT7__UART2_RX_DATA	0x1b0b1
			MX6QDL_PAD_SD4_DAT6__UART2_RTS_B	0x1b0b1
			MX6QDL_PAD_SD4_DAT5__UART2_CTS_B	0x1b0b1
		>;
	};

	pinctrl_uart4_dce: uart4dcegrp {
		fsl,pins = <
			MX6QDL_PAD_KEY_COL0__UART4_TX_DATA 0x1b0b1
			MX6QDL_PAD_KEY_ROW0__UART4_RX_DATA 0x1b0b1
		>;
	};

	/* DTE mode */
	pinctrl_uart4_dte: uart4dtegrp {
		fsl,pins = <
			MX6QDL_PAD_KEY_COL0__UART4_RX_DATA 0x1b0b1
			MX6QDL_PAD_KEY_ROW0__UART4_TX_DATA 0x1b0b1
		>;
	};

	pinctrl_uart5_dce: uart5dcegrp {
		fsl,pins = <
			MX6QDL_PAD_KEY_COL1__UART5_TX_DATA 0x1b0b1
			MX6QDL_PAD_KEY_ROW1__UART5_RX_DATA 0x1b0b1
		>;
	};

	/* DTE mode */
	pinctrl_uart5_dte: uart5dtegrp {
		fsl,pins = <
			MX6QDL_PAD_KEY_COL1__UART5_RX_DATA 0x1b0b1
			MX6QDL_PAD_KEY_ROW1__UART5_TX_DATA 0x1b0b1
		>;
	};

	pinctrl_usbotg: usbotggrp {
		fsl,pins = <
			MX6QDL_PAD_ENET_RX_ER__USB_OTG_ID 0x17059
		>;
	};

	pinctrl_usdhc1_4bit: usdhc1-4bitgrp {
		fsl,pins = <
			MX6QDL_PAD_SD1_CMD__SD1_CMD    0x17071
			MX6QDL_PAD_SD1_CLK__SD1_CLK    0x10071
			MX6QDL_PAD_SD1_DAT0__SD1_DATA0 0x17071
			MX6QDL_PAD_SD1_DAT1__SD1_DATA1 0x17071
			MX6QDL_PAD_SD1_DAT2__SD1_DATA2 0x17071
			MX6QDL_PAD_SD1_DAT3__SD1_DATA3 0x17071
		>;
	};

	pinctrl_usdhc1_8bit: usdhc1-8bitgrp {
		fsl,pins = <
			MX6QDL_PAD_NANDF_D0__SD1_DATA4 0x17071
			MX6QDL_PAD_NANDF_D1__SD1_DATA5 0x17071
			MX6QDL_PAD_NANDF_D2__SD1_DATA6 0x17071
			MX6QDL_PAD_NANDF_D3__SD1_DATA7 0x17071
		>;
	};

	pinctrl_usdhc2: usdhc2grp {
		fsl,pins = <
			MX6QDL_PAD_SD2_CMD__SD2_CMD    0x17071
			MX6QDL_PAD_SD2_CLK__SD2_CLK    0x10071
			MX6QDL_PAD_SD2_DAT0__SD2_DATA0 0x17071
			MX6QDL_PAD_SD2_DAT1__SD2_DATA1 0x17071
			MX6QDL_PAD_SD2_DAT2__SD2_DATA2 0x17071
			MX6QDL_PAD_SD2_DAT3__SD2_DATA3 0x17071
		>;
	};

	pinctrl_usdhc3: usdhc3grp {
		fsl,pins = <
			MX6QDL_PAD_SD3_CMD__SD3_CMD    0x17059
			MX6QDL_PAD_SD3_CLK__SD3_CLK    0x10059
			MX6QDL_PAD_SD3_DAT0__SD3_DATA0 0x17059
			MX6QDL_PAD_SD3_DAT1__SD3_DATA1 0x17059
			MX6QDL_PAD_SD3_DAT2__SD3_DATA2 0x17059
			MX6QDL_PAD_SD3_DAT3__SD3_DATA3 0x17059
			MX6QDL_PAD_SD3_DAT4__SD3_DATA4 0x17059
			MX6QDL_PAD_SD3_DAT5__SD3_DATA5 0x17059
			MX6QDL_PAD_SD3_DAT6__SD3_DATA6 0x17059
			MX6QDL_PAD_SD3_DAT7__SD3_DATA7 0x17059
			/* eMMC reset */
			MX6QDL_PAD_SD3_RST__SD3_RESET  0x17059
		>;
	};
};
